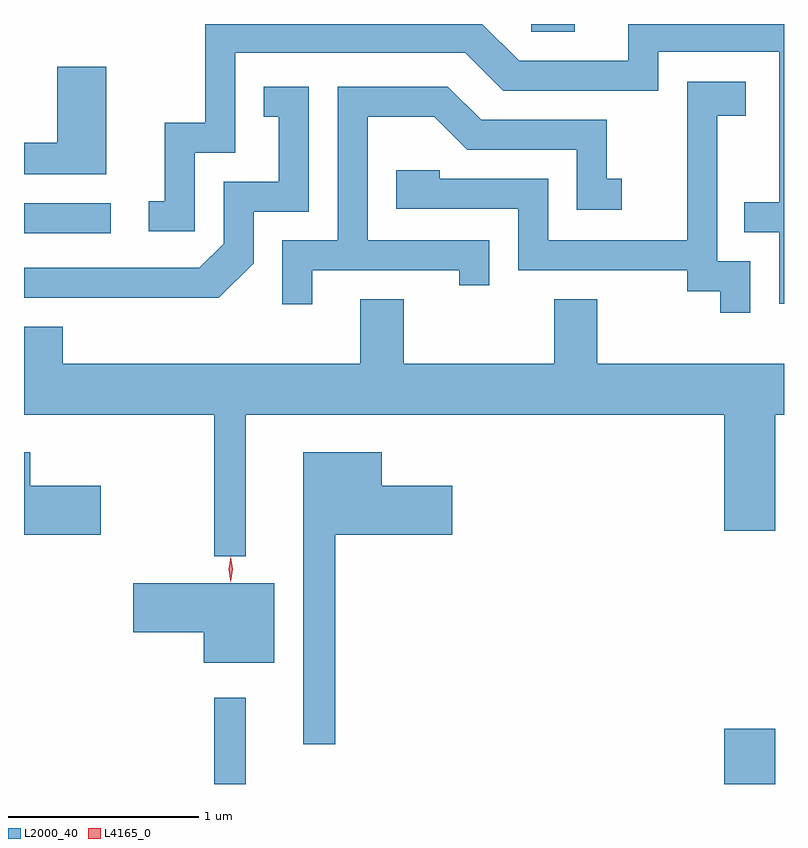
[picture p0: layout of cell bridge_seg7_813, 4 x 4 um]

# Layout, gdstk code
import gdstk
lib = gdstk.Library(unit=1e-6, precision=1e-09)
def R(c, l, rs):  # rectangles x0, y0, x1, y1
    for r in rs: c.add(gdstk.rectangle(r[:2], r[2:], *l))
def P(c, l, *ps):  # polygons
    for p in ps: c.add(gdstk.Polygon(p, *l))
L2000_40 = (2000, 40)
L4165_0 = (4165, 0)

bridge_seg7_813 = lib.new_cell('bridge_seg7_813')
R(bridge_seg7_813, L2000_40, [(212.391,1778.973,212.559,1779.428), (215.076,1778.973,215.344,1779.264), (211.391,1781.871,211.848,1782.029), (214.061,1782.931,214.289,1782.973)])
P(bridge_seg7_813, L2000_40, [(215.391,1782.973),(214.571,1782.973),(214.571,1782.779),(213.997,1782.779),(213.803,1782.973),(212.346,1782.973),(212.346,1782.454),(212.131,1782.454),(212.131,1782.039),(212.048,1782.039),(212.048,1781.881),(212.289,1781.881),(212.289,1782.296),(212.504,1782.296),(212.504,1782.821),(213.714,1782.821),(213.914,1782.621),(214.729,1782.621),(214.729,1782.826),(215.366,1782.826),(215.366,1782.034),(215.183,1782.034),(215.183,1781.876),(215.366,1781.876),(215.366,1781.501),(215.391,1781.501)],
  [(211.824,1782.749),(211.566,1782.749),(211.566,1782.349),(211.391,1782.349),(211.391,1782.181),(211.824,1782.181)],
  [(215.214,1781.724),(215.039,1781.724),(215.039,1782.491),(215.189,1782.491),(215.189,1782.669),(214.881,1782.669),(214.881,1781.834),(214.149,1781.834),(214.149,1782.159),(213.579,1782.159),(213.579,1782.204),(213.351,1782.204),(213.351,1782.001),(213.991,1782.001),(213.991,1781.676),(214.881,1781.676),(214.881,1781.566),(215.056,1781.566),(215.056,1781.453),(215.214,1781.453)],
  [(212.599,1781.714),(212.599,1781.986),(212.889,1781.986),(212.889,1782.644),(212.653,1782.644),(212.653,1782.486),(212.731,1782.486),(212.731,1782.144),(212.441,1782.144),(212.441,1781.817),(212.314,1781.689),(211.391,1781.689),(211.391,1781.531),(212.417,1781.531)],
  [(212.909,1781.676),(213.681,1781.676),(213.681,1781.598),(213.839,1781.598),(213.839,1781.834),(213.199,1781.834),(213.199,1782.486),(213.549,1782.486),(213.724,1782.311),(214.301,1782.311),(214.301,1781.996),(214.538,1781.996),(214.538,1782.159),(214.459,1782.159),(214.459,1782.469),(213.797,1782.469),(213.622,1782.644),(213.041,1782.644),(213.041,1781.834),(212.751,1781.834),(212.751,1781.498),(212.909,1781.498)],
  [(212.559,1780.916),(215.076,1780.916),(215.076,1780.306),(215.344,1780.306),(215.344,1780.916),(215.391,1780.916),(215.391,1781.184),(214.409,1781.184),(214.409,1781.524),(214.181,1781.524),(214.181,1781.184),(213.389,1781.184),(213.389,1781.524),(213.161,1781.524),(213.161,1781.184),(211.594,1781.184),(211.594,1781.379),(211.391,1781.379),(211.391,1780.916),(212.391,1780.916),(212.391,1780.173),(212.559,1780.173)],
  [(213.029,1780.286),(213.644,1780.286),(213.644,1780.544),(213.274,1780.544),(213.274,1780.719),(212.861,1780.719),(212.861,1779.183),(213.029,1779.183)],
  [(211.794,1780.544),(211.424,1780.544),(211.424,1780.719),(211.391,1780.719),(211.391,1780.286),(211.794,1780.286)],
  [(212.709,1780.029),(211.966,1780.029),(211.966,1779.771),(212.336,1779.771),(212.336,1779.611),(212.709,1779.611)])
P(bridge_seg7_813, L4165_0, [(212.479,1780.04),(212.478,1780.041),(212.469,1780.103),(212.478,1780.166),(212.478,1780.167),(212.479,1780.166),(212.488,1780.104),(212.479,1780.041)],
  [(212.479,1780.034),(212.479,1780.034),(212.469,1780.102),(212.478,1780.17),(212.478,1780.17),(212.479,1780.17),(212.489,1780.102),(212.48,1780.034)])

lib.write_gds('bridge_seg7_813.gds')
